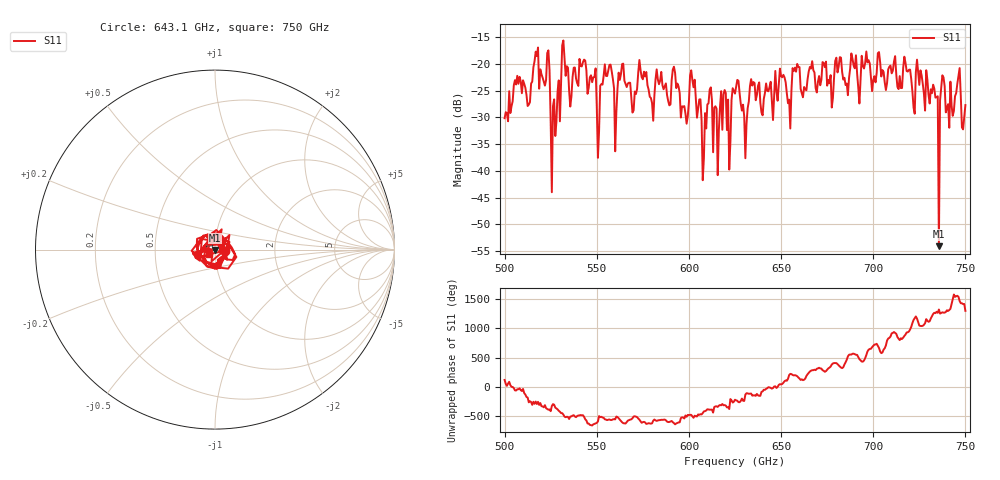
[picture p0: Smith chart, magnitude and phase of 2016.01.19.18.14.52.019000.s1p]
!Created with skrf (http://scikit-rf.org).
# GHz S RI R 50.0
!freq ReS11 ImS11
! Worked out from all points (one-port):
!   401 points, 500 GHz to 750 GHz, reference 50 ohm
!   lowest |S11| = -54.1 dB at 735.6 GHz (marker M1), VSWR 1.00, Z = 49.9 - j0.174 ohm
!   |S11| at or under -10 dB: start of sweep to end of sweep
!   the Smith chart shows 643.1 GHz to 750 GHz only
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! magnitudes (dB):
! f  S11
! 500 GHz  -30.2
! 506.9 GHz  -22.2
! 513.1 GHz  -27.6
! 516.9 GHz  -17.7
! 523.1 GHz  -18.0
! 526.9 GHz  -26.6
! 531.2 GHz  -16.5
! 543.1 GHz  -19.2
! 551.2 GHz  -32.6
! 555.6 GHz  -22.3
! 560 GHz  -36.3
! 562.5 GHz  -23.0
! 593.8 GHz  -23.7
! 598.1 GHz  -29.3
! 601.9 GHz  -23.0
! 608.1 GHz  -37.6
! 611.2 GHz  -24.8
! 621.9 GHz  -39.8
! 625 GHz  -25.6
! 630 GHz  -29.8
! 634.4 GHz  -24.1
! 656.2 GHz  -20.8
! 687.5 GHz  -20.8
! 718.8 GHz  -21.4
! 733.8 GHz  -26.3
! 735.6 GHz  -54.1
! 737.5 GHz  -22.1
! 750 GHz  -27.7
